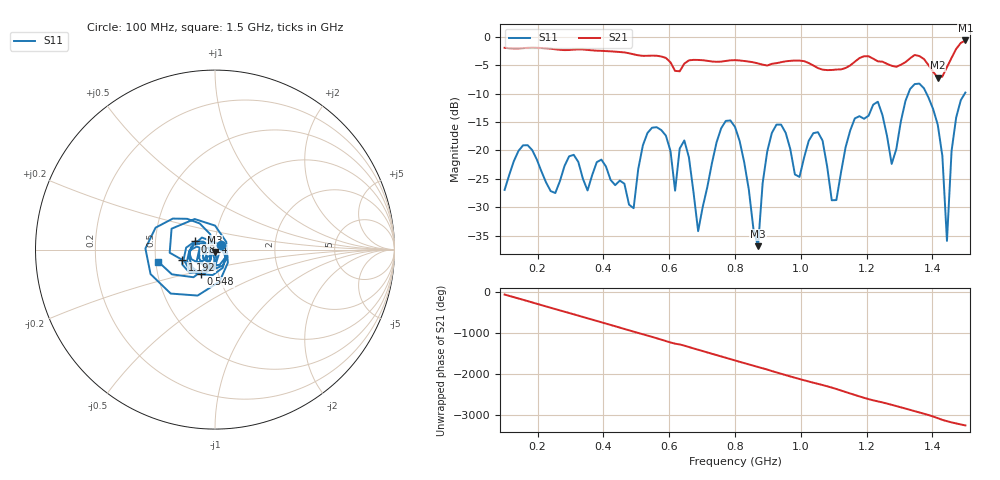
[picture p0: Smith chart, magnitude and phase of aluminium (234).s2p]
! NanoVNA-App
! Date: 2025-09-25 14:57:06
! Start: 100MHz Stop: 1,5GHz Points: 101
! S-Parameter data: F S11 S21 S12 S22
# Hz S RI R 50
!  Frequency  S11_Real  S11_Imag  S21_Real  S21_Imag  S12_Real  S12_Imag  S22_Real  S22_Imag
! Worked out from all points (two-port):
!   101 points, 100 MHz to 1.5 GHz, reference 50 ohm
!   highest |S21| = -0.63 dB at 1.5 GHz (marker M1); lowest = -7.2 dB at 1.416 GHz (marker M2)
!   |S21| within 3 dB of the highest: start of sweep to 585.8 MHz; 1.459 GHz to end of sweep (the widest 2 of 4)
!   lowest |S11| = -36.9 dB at 870 MHz (marker M3), VSWR 1.03, Z = 49.8 - j1.42 ohm
!   |S11| at or under -10 dB: start of sweep to 1.326 GHz; 1.382 GHz to 1.498 GHz (115.9 MHz wide, 8.05 % of centre)
!   S12 and S22 are empty: the file has one direction only
!   S11 on the Smith chart (normalised r, x): 100 MHz: 1.07, +0.06; 548 MHz: 0.82, -0.23; 814 MHz: 0.79, +0.07; 1.192 GHz: 0.69, -0.08; 1.5 GHz: 0.52, -0.08
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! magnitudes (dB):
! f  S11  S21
! 100 MHz  -27.0  -1.9
! 338 MHz  -25.0  -2.2
! 492 MHz  -30.2  -3.1
! 548 MHz  -16.0  -3.3
! 576 MHz  -16.4  -3.4
! 618 MHz  -27.1  -6.0
! 646 MHz  -18.2  -4.7
! 688 MHz  -34.2  -4.1
! 800 MHz  -15.9  -4.1
! 814 MHz  -18.3  -4.2
! 870 MHz  -36.9  -4.7
! 912 MHz  -16.9  -4.7
! 996 MHz  -24.7  -4.2
! 1.038 GHz  -17.0  -5.0
! 1.108 GHz  -28.7  -5.7
! 1.192 GHz  -14.4  -3.4
! 1.276 GHz  -22.4  -5.1
! 1.346 GHz  -8.3  -3.2
! 1.416 GHz  -15.5  -7.2
! 1.444 GHz  -35.9  -5.3
! 1.458 GHz  -20.1  -3.7
! 1.5 GHz  -9.8  -0.6
